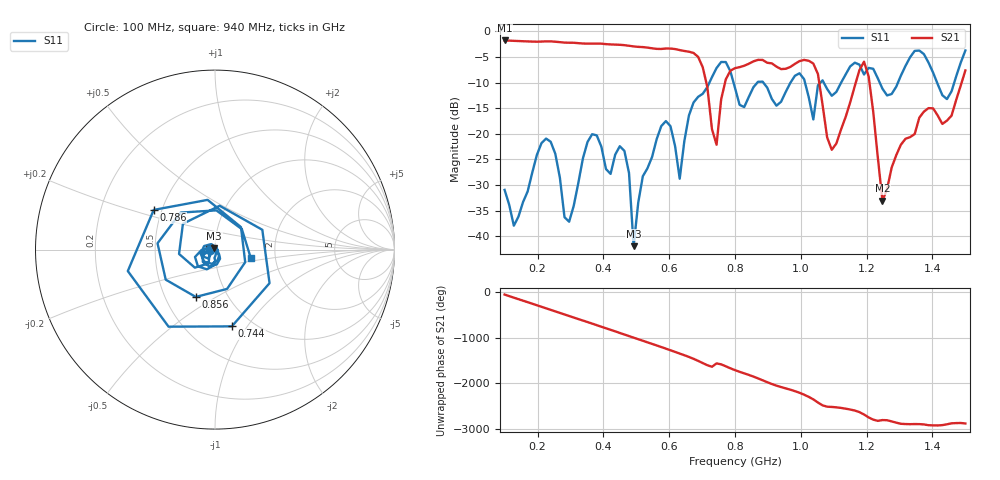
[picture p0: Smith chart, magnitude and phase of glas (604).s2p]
! NanoVNA-App
! Date: 2025-09-25 16:00:10
! Start: 100MHz Stop: 1,5GHz Points: 101
! S-Parameter data: F S11 S21 S12 S22
# Hz S RI R 50
!  Frequency  S11_Real  S11_Imag  S21_Real  S21_Imag  S12_Real  S12_Imag  S22_Real  S22_Imag
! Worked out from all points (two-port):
!   101 points, 100 MHz to 1.5 GHz, reference 50 ohm
!   highest |S21| = -1.80 dB at 100 MHz (marker M1); lowest = -33.0 dB at 1.248 GHz (marker M2)
!   |S21| within 3 dB of the highest: start of sweep to 684.4 MHz
!   lowest |S11| = -41.9 dB at 492 MHz (marker M3), VSWR 1.02, Z = 49.5 + j0.62 ohm
!   |S11| at or under -10 dB: start of sweep to 722.4 MHz; 795.4 MHz to 868.1 MHz (72.63 MHz wide, 8.73 % of centre); 885.9 MHz to 968.8 MHz (82.93 MHz wide, 8.94 % of centre) (the widest 3 of 7)
!   S12 and S22 are empty: the file has one direction only
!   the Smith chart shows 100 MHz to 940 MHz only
!   S11 on the Smith chart (normalised r, x): 100 MHz: 0.95, -0.01; 744 MHz: 0.81, -0.85; 786 MHz: 0.45, +0.24; 856 MHz: 0.71, -0.41; 940 MHz: 1.49, -0.15
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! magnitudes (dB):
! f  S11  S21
! 100 MHz  -30.9  -1.8
! 128 MHz  -37.9  -1.9
! 226 MHz  -20.9  -2.0
! 296 MHz  -37.1  -2.2
! 338 MHz  -24.8  -2.4
! 464 MHz  -23.3  -2.7
! 492 MHz  -41.9  -3.0
! 576 MHz  -18.5  -3.5
! 632 MHz  -28.8  -3.7
! 702 MHz  -12.2  -7.0
! 744 MHz  -7.2  -22.1
! 786 MHz  -7.8  -7.7
! 800 MHz  -11.1  -7.2
! 856 MHz  -10.9  -5.9
! 940 MHz  -13.7  -7.4
! 996 MHz  -8.2  -5.8
! 1.038 GHz  -17.2  -6.3
! 1.094 GHz  -12.6  -23.1
! 1.192 GHz  -8.4  -5.9
! 1.248 GHz  -11.2  -33.0
! 1.276 GHz  -12.2  -26.6
! 1.5 GHz  -3.8  -7.7
